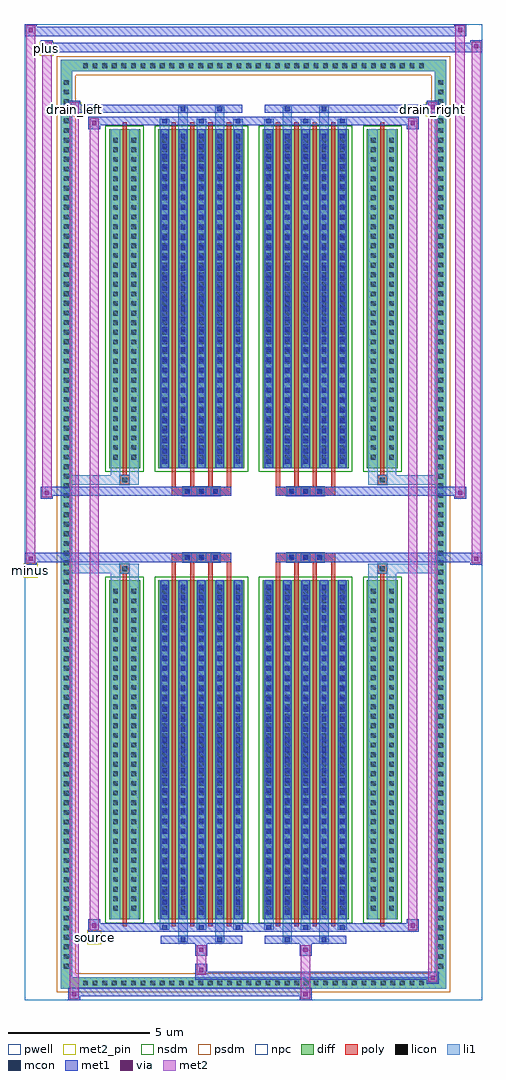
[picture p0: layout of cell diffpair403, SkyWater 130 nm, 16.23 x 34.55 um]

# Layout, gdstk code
import gdstk
lib = gdstk.Library(unit=1e-6, precision=5e-09)
def R(c, l, rs):  # rectangles x0, y0, x1, y1
    for r in rs: c.add(gdstk.rectangle(r[:2], r[2:], *l))
def A(c, l, x, y, w, h, nx, ny, dx, dy):  # array of equal rectangles
    R(c, l, [(x+i*dx, y+j*dy, x+i*dx+w, y+j*dy+h) for i in range(nx) for j in range(ny)])
def P(c, l, *ps):  # polygons
    for p in ps: c.add(gdstk.Polygon(p, *l))
pwell = (64, 44)
diff = (65, 20)
poly = (66, 20)
licon = (66, 44)
li1 = (67, 20)
mcon = (67, 44)
met1 = (68, 20)
via = (68, 44)
met2_pin = (69, 16)
met2 = (69, 20)
nsdm = (93, 44)
psdm = (94, 20)
npc = (95, 20)

diffpair403 = lib.new_cell('diffpair403')
R(diffpair403, pwell, [(-8.1,-16.84,8.1,17.71), (-5.42,-15.03,-0.01,-0.805), (0.01,-15.03,5.42,-0.805), (-5.42,0.805,-0.01,15.03), (0.01,0.805,5.42,15.03)])
A(diffpair403, diff, -6.155, -16.44, 0.41, 0.41, 36, 2, 0.34, 32.47)
A(diffpair403, diff, -6.83, -15.845, 0.41, 0.41, 1, 93, 0, 0.34)
A(diffpair403, diff, 6.42, -15.845, 0.41, 0.41, 1, 93, 0, 0.34)
R(diffpair403, diff, [(-6.155,-16.44,6.155,-16.03), (-6.83,-15.845,-6.42,15.845), (6.42,-15.845,6.83,15.845), (-5.11,-13.985,-4.01,-1.985), (-3.37,-13.985,-0.32,-1.985), (0.32,-13.985,3.37,-1.985), (4.01,-13.985,5.11,-1.985), (-5.11,1.985,-4.01,13.985), (-3.37,1.985,-0.32,13.985), (0.32,1.985,3.37,13.985), (4.01,1.985,5.11,13.985), (-6.155,16.03,6.155,16.44)])
P(diffpair403, diff, [(6.83,16.44),(-6.83,16.44),(-6.83,-16.03),(-6.42,-16.03),(-6.42,16.03),(6.42,16.03),(6.42,-16.03),(-6.42,-16.03),(-6.83,-16.03),(-6.83,-16.44),(6.83,-16.44)])
A(diffpair403, poly, -2.895, -14.235, 0.15, 12.5, 4, 2, 0.65, 15.97)
A(diffpair403, poly, 0.795, -14.235, 0.15, 12.5, 4, 2, 0.65, 15.97)
A(diffpair403, poly, -2.895, -1.735, 0.15, 0.4, 4, 2, 0.65, 3.07)
A(diffpair403, poly, 0.795, -1.735, 0.15, 0.4, 4, 2, 0.65, 3.07)
A(diffpair403, poly, -2.51, -1.335, 0.33, 0.33, 3, 2, 0.5, 2.34)
A(diffpair403, poly, 1.18, -1.335, 0.33, 0.33, 3, 2, 0.5, 2.34)
R(diffpair403, poly, [(-4.635,-14.235,-4.485,-1.735), (4.485,-14.235,4.635,-1.735), (-4.725,-1.735,-4.395,-1.405), (-4.725,-1.735,-4.395,-1.405), (4.395,-1.735,4.725,-1.405), (4.395,-1.735,4.725,-1.405), (-2.895,-1.335,-0.795,-1.005), (0.795,-1.335,2.895,-1.005), (-2.895,1.005,-0.795,1.335), (0.795,1.005,2.895,1.335), (-4.725,1.405,-4.395,1.735), (-4.725,1.405,-4.395,1.735), (4.395,1.405,4.725,1.735), (4.395,1.405,4.725,1.735), (-4.635,1.735,-4.485,14.235), (4.485,1.735,4.635,14.235)])
A(diffpair403, licon, -6.035, -16.32, 0.17, 0.17, 36, 2, 0.34, 32.47)
A(diffpair403, licon, -6.71, -15.725, 0.17, 0.17, 1, 93, 0, 0.34)
A(diffpair403, licon, 6.54, -15.725, 0.17, 0.17, 1, 93, 0, 0.34)
A(diffpair403, licon, -4.97, -13.68, 0.17, 0.17, 1, 34, 0, 0.34)
A(diffpair403, licon, -4.32, -13.68, 0.17, 0.17, 1, 34, 0, 0.34)
A(diffpair403, licon, -3.23, -13.68, 0.17, 0.17, 5, 34, 0.65, 0.34)
A(diffpair403, licon, 0.46, -13.68, 0.17, 0.17, 5, 34, 0.65, 0.34)
A(diffpair403, licon, 4.15, -13.68, 0.17, 0.17, 1, 34, 0, 0.34)
A(diffpair403, licon, 4.8, -13.68, 0.17, 0.17, 1, 34, 0, 0.34)
A(diffpair403, licon, -2.43, -1.255, 0.17, 0.17, 3, 2, 0.5, 2.34)
A(diffpair403, licon, 1.26, -1.255, 0.17, 0.17, 3, 2, 0.5, 2.34)
A(diffpair403, licon, -4.97, 2.29, 0.17, 0.17, 1, 34, 0, 0.34)
A(diffpair403, licon, -4.32, 2.29, 0.17, 0.17, 1, 34, 0, 0.34)
A(diffpair403, licon, -3.23, 2.29, 0.17, 0.17, 5, 34, 0.65, 0.34)
A(diffpair403, licon, 0.46, 2.29, 0.17, 0.17, 5, 34, 0.65, 0.34)
A(diffpair403, licon, 4.15, 2.29, 0.17, 0.17, 1, 34, 0, 0.34)
A(diffpair403, licon, 4.8, 2.29, 0.17, 0.17, 1, 34, 0, 0.34)
R(diffpair403, licon, [(-4.645,-1.655,-4.475,-1.485), (4.475,-1.655,4.645,-1.485), (-4.645,1.485,-4.475,1.655), (4.475,1.485,4.645,1.655)])
A(diffpair403, li1, -6.115, -16.4, 0.33, 0.33, 36, 2, 0.34, 32.47)
A(diffpair403, li1, -6.79, -15.805, 0.33, 0.33, 1, 93, 0, 0.34)
A(diffpair403, li1, 6.46, -15.805, 0.33, 0.33, 1, 93, 0, 0.34)
A(diffpair403, li1, -3.31, -14.36, 0.33, 0.375, 3, 2, 1.3, 28.345)
A(diffpair403, li1, -3.23, -14.36, 0.17, 0.17, 3, 2, 1.3, 28.55)
A(diffpair403, li1, 0.38, -14.36, 0.33, 0.375, 3, 2, 1.3, 28.345)
A(diffpair403, li1, 0.46, -14.36, 0.17, 0.17, 3, 2, 1.3, 28.55)
A(diffpair403, li1, -3.31, -13.985, 0.33, 12, 5, 2, 0.65, 15.97)
A(diffpair403, li1, 0.38, -13.985, 0.33, 12, 5, 2, 0.65, 15.97)
A(diffpair403, li1, -3.23, -13.83, 0.17, 0.17, 5, 33, 0.65, 0.36)
A(diffpair403, li1, -3.23, -13.83, 0.17, 11.69, 5, 2, 0.65, 15.97)
A(diffpair403, li1, 0.46, -13.83, 0.17, 0.17, 5, 33, 0.65, 0.36)
A(diffpair403, li1, 0.46, -13.83, 0.17, 11.69, 5, 2, 0.65, 15.97)
A(diffpair403, li1, -5.05, -13.76, 0.33, 0.33, 1, 34, 0, 0.34)
A(diffpair403, li1, -4.4, -13.76, 0.33, 0.33, 1, 34, 0, 0.34)
A(diffpair403, li1, -3.31, -13.76, 0.33, 0.33, 5, 34, 0.65, 0.34)
A(diffpair403, li1, 0.38, -13.76, 0.33, 0.33, 5, 34, 0.65, 0.34)
A(diffpair403, li1, 4.07, -13.76, 0.33, 0.33, 1, 34, 0, 0.34)
A(diffpair403, li1, 4.72, -13.76, 0.33, 0.33, 1, 34, 0, 0.34)
A(diffpair403, li1, -2.51, -1.335, 0.33, 0.33, 3, 2, 0.5, 2.34)
A(diffpair403, li1, 1.18, -1.335, 0.33, 0.33, 3, 2, 0.5, 2.34)
A(diffpair403, li1, -3.23, 2.14, 0.17, 0.17, 5, 33, 0.65, 0.36)
A(diffpair403, li1, 0.46, 2.14, 0.17, 0.17, 5, 33, 0.65, 0.36)
A(diffpair403, li1, -5.05, 2.21, 0.33, 0.33, 1, 34, 0, 0.34)
A(diffpair403, li1, -4.4, 2.21, 0.33, 0.33, 1, 34, 0, 0.34)
A(diffpair403, li1, -3.31, 2.21, 0.33, 0.33, 5, 34, 0.65, 0.34)
A(diffpair403, li1, 0.38, 2.21, 0.33, 0.33, 5, 34, 0.65, 0.34)
A(diffpair403, li1, 4.07, 2.21, 0.33, 0.33, 1, 34, 0, 0.34)
A(diffpair403, li1, 4.72, 2.21, 0.33, 0.33, 1, 34, 0, 0.34)
R(diffpair403, li1, [(-6.83,-16.44,-6.42,-16.03), (-6.83,-16.44,-6.42,-16.03), (-6.42,-16.44,6.42,-16.03), (6.42,-16.44,6.83,-16.03), (6.42,-16.44,6.83,-16.03), (-6.83,-16.03,-6.42,16.03), (6.42,-16.03,6.83,16.03), (-2.66,-14.79,-2.33,-13.985), (-2.58,-14.79,-2.41,-14.62), (-1.36,-14.79,-1.03,-13.985), (-1.28,-14.79,-1.11,-14.62), (1.03,-14.79,1.36,-13.985), (1.11,-14.79,1.28,-14.62), (2.33,-14.79,2.66,-13.985), (2.41,-14.79,2.58,-14.62), (-5.05,-13.985,-4.72,-1.985), (-4.4,-13.985,-4.07,-1.985), (4.07,-13.985,4.4,-1.985), (4.72,-13.985,5.05,-1.985), (-5.05,-1.985,-4.72,-1.405), (-4.4,-1.985,-4.07,-1.405), (4.07,-1.985,4.4,-1.405), (4.72,-1.985,5.05,-1.405), (-6.83,-1.735,-4.725,-1.405), (-5.05,-1.735,-4.725,-1.405), (-4.725,-1.735,-4.395,-1.405), (-4.395,-1.735,-4.07,-1.405), (4.07,-1.735,4.395,-1.405), (4.395,-1.735,4.725,-1.405), (4.395,-1.735,6.83,-1.405), (4.725,-1.735,5.05,-1.405), (-6.83,1.405,-4.725,1.735), (-5.05,1.405,-4.725,1.735), (-5.05,1.405,-4.72,1.985), (-4.725,1.405,-4.395,1.735), (-4.4,1.405,-4.07,1.985), (-4.395,1.405,-4.07,1.735), (4.07,1.405,4.395,1.735), (4.07,1.405,4.4,1.985), (4.395,1.405,4.725,1.735), (4.395,1.405,6.83,1.735), (4.72,1.405,5.05,1.985), (4.725,1.405,5.05,1.735), (-5.05,1.985,-4.72,13.985), (-4.4,1.985,-4.07,13.985), (4.07,1.985,4.4,13.985), (4.72,1.985,5.05,13.985), (-2.66,13.985,-2.33,14.79), (-1.36,13.985,-1.03,14.79), (1.03,13.985,1.36,14.79), (2.33,13.985,2.66,14.79), (-2.58,14.62,-2.41,14.79), (-1.28,14.62,-1.11,14.79), (1.11,14.62,1.28,14.79), (2.41,14.62,2.58,14.79), (-6.83,16.03,-6.42,16.44), (-6.83,16.03,-6.42,16.44), (-6.42,16.03,6.42,16.44), (6.42,16.03,6.83,16.44), (6.42,16.03,6.83,16.44)])
A(diffpair403, mcon, -3.23, -14.36, 0.17, 0.17, 3, 2, 1.3, 28.55)
A(diffpair403, mcon, 0.46, -14.36, 0.17, 0.17, 3, 2, 1.3, 28.55)
A(diffpair403, mcon, -3.23, -13.83, 0.17, 0.17, 5, 33, 0.65, 0.36)
A(diffpair403, mcon, 0.46, -13.83, 0.17, 0.17, 5, 33, 0.65, 0.36)
A(diffpair403, mcon, -2.43, -1.255, 0.17, 0.17, 3, 2, 0.5, 2.34)
A(diffpair403, mcon, 1.26, -1.255, 0.17, 0.17, 3, 2, 0.5, 2.34)
A(diffpair403, mcon, -3.23, 2.14, 0.17, 0.17, 5, 33, 0.65, 0.36)
A(diffpair403, mcon, 0.46, 2.14, 0.17, 0.17, 5, 33, 0.65, 0.36)
R(diffpair403, mcon, [(-2.58,-14.79,-2.41,-14.62), (-1.28,-14.79,-1.11,-14.62), (1.11,-14.79,1.28,-14.62), (2.41,-14.79,2.58,-14.62), (-2.58,14.62,-2.41,14.79), (-1.28,14.62,-1.11,14.79), (1.11,14.62,1.28,14.79), (2.41,14.62,2.58,14.79)])
A(diffpair403, met1, -3.29, -14.42, 0.29, 0.29, 3, 2, 1.3, 28.55)
A(diffpair403, met1, 0.4, -14.42, 0.29, 0.29, 3, 2, 1.3, 28.55)
A(diffpair403, met1, -3.29, -13.985, 0.29, 12, 5, 2, 0.65, 15.97)
A(diffpair403, met1, 0.4, -13.985, 0.29, 12, 5, 2, 0.65, 15.97)
A(diffpair403, met1, -3.29, -13.89, 0.29, 0.29, 5, 33, 0.65, 0.36)
A(diffpair403, met1, 0.4, -13.89, 0.29, 0.29, 5, 33, 0.65, 0.36)
A(diffpair403, met1, -2.49, -1.315, 0.29, 0.29, 3, 2, 0.5, 2.34)
A(diffpair403, met1, 1.2, -1.315, 0.29, 0.29, 3, 2, 0.5, 2.34)
A(diffpair403, met1, -3.29, 2.08, 0.29, 0.29, 5, 33, 0.65, 0.36)
A(diffpair403, met1, 0.4, 2.08, 0.29, 0.29, 5, 33, 0.65, 0.36)
R(diffpair403, met1, [(-6.56,-16.84,-6.13,-16.41), (1.63,-16.84,2.06,-16.41), (-6.56,-16.7,2.06,-16.41), (6.13,-16.27,6.56,-15.84), (-2.06,-16.13,6.56,-15.84), (-2.06,-15.99,-1.63,-15.56), (-2.06,-15.28,-1.63,-14.85), (1.63,-15.28,2.06,-14.85), (-3.29,-14.85,-0.4,-14.56), (-2.64,-14.85,-2.35,-14.56), (-1.34,-14.85,-1.05,-14.56), (0.4,-14.85,3.29,-14.56), (1.05,-14.85,1.34,-14.56), (2.35,-14.85,2.64,-14.56), (-5.85,-14.42,-5.42,-13.99), (-5.85,-14.42,-3.29,-14.13), (-3.29,-14.42,-0.4,-14.13), (-0.4,-14.42,0.4,-14.13), (0.4,-14.42,3.29,-14.13), (3.29,-14.42,5.85,-14.13), (5.42,-14.42,5.85,-13.99), (-8.1,-1.435,-7.67,-1.005), (7.67,-1.435,8.1,-1.005), (-8.1,-1.335,-0.795,-1.005), (-2.895,-1.335,-0.795,-1.005), (0.795,-1.335,2.895,-1.005), (0.795,-1.335,8.1,-1.005), (-7.53,0.905,-7.1,1.335), (7.1,0.905,7.53,1.335), (-7.53,1.005,-2.895,1.335), (-2.895,1.005,-0.795,1.335), (0.795,1.005,2.895,1.335), (2.895,1.005,7.53,1.335), (-5.85,13.99,-5.42,14.42), (5.42,13.99,5.85,14.42), (-5.85,14.13,-3.29,14.42), (-3.29,14.13,-0.4,14.42), (-0.4,14.13,0.4,14.42), (0.4,14.13,3.29,14.42), (3.29,14.13,5.85,14.42), (-6.56,14.56,-6.13,14.99), (-6.56,14.56,-3.29,14.85), (-3.29,14.56,-0.4,14.85), (-2.64,14.56,-2.35,14.85), (-1.34,14.56,-1.05,14.85), (0.4,14.56,3.29,14.85), (1.05,14.56,1.34,14.85), (2.35,14.56,2.64,14.85), (3.29,14.56,6.56,14.85), (6.13,14.56,6.56,14.99), (-7.53,16.71,-7.1,17.14), (-7.53,16.71,-5.42,17.04), (-5.42,16.71,5.42,17.04), (5.42,16.71,8.1,17.04), (7.67,16.71,8.1,17.14), (-8.1,17.28,-7.67,17.71), (-8.1,17.28,-5.42,17.61), (-5.42,17.28,5.42,17.61), (5.42,17.28,7.53,17.61), (7.1,17.28,7.53,17.71)])
R(diffpair403, via, [(-6.42,-16.7,-6.27,-16.55), (1.77,-16.7,1.92,-16.55), (6.27,-16.13,6.42,-15.98), (-1.92,-15.85,-1.77,-15.7), (-1.92,-15.14,-1.77,-14.99), (1.77,-15.14,1.92,-14.99), (-5.71,-14.28,-5.56,-14.13), (5.56,-14.28,5.71,-14.13), (-7.96,-1.295,-7.81,-1.145), (7.81,-1.295,7.96,-1.145), (-7.39,1.045,-7.24,1.195), (7.24,1.045,7.39,1.195), (-5.71,14.13,-5.56,14.28), (5.56,14.13,5.71,14.28), (-6.42,14.7,-6.27,14.85), (6.27,14.7,6.42,14.85), (-7.39,16.85,-7.24,17), (7.81,16.85,7.96,17), (-7.96,17.42,-7.81,17.57), (7.24,17.42,7.39,17.57)])
R(diffpair403, met2_pin, [(-5.885,-14.87,-5.385,-14.37), (-8.135,-1.885,-7.635,-1.385), (-6.595,14.44,-6.095,14.94), (6.095,14.44,6.595,14.94), (-7.565,16.59,-7.065,17.09)])
R(diffpair403, met2, [(-6.51,-16.79,-6.18,-16.46), (-6.51,-16.79,-6.18,14.94), (1.68,-16.79,2.01,-16.46), (1.68,-16.46,2.01,-15.23), (6.18,-16.22,6.51,-15.89), (6.18,-16.22,6.51,14.94), (-2.01,-15.94,-1.68,-15.61), (-2.01,-15.61,-1.68,-15.23), (-2.01,-15.23,-1.68,-14.9), (1.68,-15.23,2.01,-14.9), (-5.8,-14.37,-5.47,-14.04), (-5.8,-14.37,-5.47,14.37), (5.47,-14.37,5.8,-14.04), (5.47,-14.37,5.8,14.37), (-8.05,-1.385,-7.72,-1.055), (-8.05,-1.385,-7.72,17.66), (7.72,-1.385,8.05,-1.055), (7.72,-1.385,8.05,17.09), (-7.48,0.955,-7.15,1.285), (-7.48,0.955,-7.15,17.09), (7.15,0.955,7.48,1.285), (7.15,0.955,7.48,17.66), (-5.8,14.04,-5.47,14.37), (5.47,14.04,5.8,14.37), (-6.51,14.61,-6.18,14.94), (6.18,14.61,6.51,14.94), (-7.48,16.76,-7.15,17.09), (7.72,16.76,8.05,17.09), (-8.05,17.33,-7.72,17.66), (7.15,17.33,7.48,17.66)])
P(diffpair403, met2, [(8.05,-1.385),(8.05,-1.385),(8.05,-1.055),(8.05,-1.055)],
  [(8.05,16.76),(8.05,16.76),(8.05,17.09),(8.05,17.09)],
  [(-7.72,-1.385),(-7.72,-1.385),(-7.72,-1.055),(-7.72,-1.055)],
  [(-7.72,17.33),(-7.72,17.33),(-7.72,17.66),(-7.72,17.66)],
  [(7.48,0.955),(7.48,0.955),(7.48,1.285),(7.48,1.285)],
  [(7.48,17.33),(7.48,17.33),(7.48,17.66),(7.48,17.66)],
  [(-7.15,0.955),(-7.15,0.955),(-7.15,1.285),(-7.15,1.285)],
  [(-7.15,16.76),(-7.15,16.76),(-7.15,17.09),(-7.15,17.09)],
  [(-6.18,-16.79),(-6.18,-16.79),(-6.18,-16.46),(-6.18,-16.46)],
  [(-6.18,14.61),(-6.18,14.61),(-6.18,14.94),(-6.18,14.94)],
  [(6.51,-16.22),(6.51,-16.22),(6.51,-15.89),(6.51,-15.89)],
  [(6.51,14.61),(6.51,14.61),(6.51,14.94),(6.51,14.94)],
  [(-5.47,-14.37),(-5.47,-14.37),(-5.47,-14.04),(-5.47,-14.04)],
  [(-5.47,14.04),(-5.47,14.04),(-5.47,14.37),(-5.47,14.37)],
  [(5.8,-14.37),(5.8,-14.37),(5.8,-14.04),(5.8,-14.04)],
  [(5.8,14.04),(5.8,14.04),(5.8,14.37),(5.8,14.37)])
R(diffpair403, nsdm, [(-5.24,-14.115,-3.88,-1.855), (-3.5,-14.115,-0.19,-1.855), (0.19,-14.115,3.5,-1.855), (3.88,-14.115,5.24,-1.855), (-5.24,1.855,-3.88,14.115), (-3.5,1.855,-0.19,14.115), (0.19,1.855,3.5,14.115), (3.88,1.855,5.24,14.115)])
P(diffpair403, psdm, [(6.96,16.57),(-6.96,16.57),(-6.96,-15.9),(-6.29,-15.9),(-6.29,15.9),(6.29,15.9),(6.29,-15.9),(-6.29,-15.9),(-6.96,-15.9),(-6.96,-16.57),(6.96,-16.57)])
A(diffpair403, npc, -2.53, -1.355, 0.37, 0.37, 3, 2, 0.5, 2.34)
A(diffpair403, npc, 1.16, -1.355, 0.37, 0.37, 3, 2, 0.5, 2.34)
R(diffpair403, npc, [(-4.745,-1.755,-4.375,-1.385), (4.375,-1.755,4.745,-1.385), (-2.53,-1.355,-1.66,-0.985), (-2.53,-1.355,-1.66,-0.985), (-2.03,-1.355,-1.16,-0.985), (-2.03,-1.355,-1.16,-0.985), (1.16,-1.355,2.03,-0.985), (1.16,-1.355,2.03,-0.985), (1.66,-1.355,2.53,-0.985), (1.66,-1.355,2.53,-0.985), (-2.53,0.985,-1.66,1.355), (-2.53,0.985,-1.66,1.355), (-2.03,0.985,-1.16,1.355), (-2.03,0.985,-1.16,1.355), (1.16,0.985,2.03,1.355), (1.16,0.985,2.03,1.355), (1.66,0.985,2.53,1.355), (1.66,0.985,2.53,1.355), (-4.745,1.385,-4.375,1.755), (4.375,1.385,4.745,1.755)])
diffpair403.add(gdstk.Label('minus', (-7.885,-1.635), layer=69, texttype=5))
diffpair403.add(gdstk.Label('drain_right', (6.345,14.69), layer=69, texttype=5))
diffpair403.add(gdstk.Label('drain_left', (-6.345,14.69), layer=69, texttype=5))
diffpair403.add(gdstk.Label('source', (-5.635,-14.62), layer=69, texttype=5))
diffpair403.add(gdstk.Label('plus', (-7.315,16.84), layer=69, texttype=5))

lib.write_gds('diffpair403.gds')
